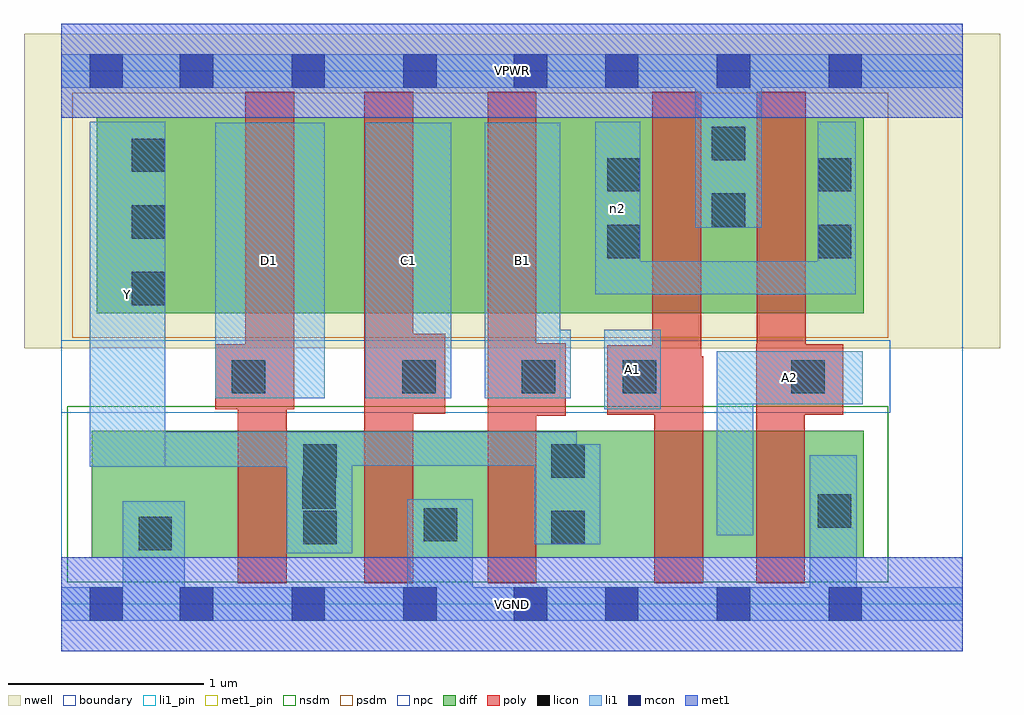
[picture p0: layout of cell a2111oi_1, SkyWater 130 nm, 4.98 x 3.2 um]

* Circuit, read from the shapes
.subckt a2111oi_1 A1 A2 B1 C1 D1 VGND VPWR Y n2
XM1 Y D1 VGND VSUBS sky130_fd_pr__nfet_01v8 w=0.65 l=0.25
XM2 VGND C1 Y VSUBS sky130_fd_pr__nfet_01v8 w=0.65 l=0.25
XM3 Y B1 VGND VSUBS sky130_fd_pr__nfet_01v8 w=0.65 l=0.25
XM4 n1 A1 Y VSUBS sky130_fd_pr__nfet_01v8 w=0.65 l=0.25
XM5 VGND A2 n1 VSUBS sky130_fd_pr__nfet_01v8 w=0.65 l=0.25
XM6 n3 D1 Y n4 sky130_fd_pr__pfet_01v8 w=1 l=0.25
XM7 n5 C1 n3 n4 sky130_fd_pr__pfet_01v8 w=1 l=0.25
XM8 n2 B1 n5 n4 sky130_fd_pr__pfet_01v8 w=1 l=0.25
XM9 VPWR A1 n2 n4 sky130_fd_pr__pfet_01v8 w=1 l=0.25
XM10 n2 A2 VPWR n4 sky130_fd_pr__pfet_01v8 w=1 l=0.25
.ends

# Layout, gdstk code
import gdstk
lib = gdstk.Library(unit=1e-6, precision=1e-09)
def R(c, l, rs):  # rectangles x0, y0, x1, y1
    for r in rs: c.add(gdstk.rectangle(r[:2], r[2:], *l))
def A(c, l, x, y, w, h, nx, ny, dx, dy):  # array of equal rectangles
    R(c, l, [(x+i*dx, y+j*dy, x+i*dx+w, y+j*dy+h) for i in range(nx) for j in range(ny)])
nwell = (64, 20)
diff = (65, 20)
poly = (66, 20)
licon = (66, 44)
li1_pin = (67, 16)
li1 = (67, 20)
mcon = (67, 44)
met1_pin = (68, 16)
met1 = (68, 20)
nsdm = (93, 44)
psdm = (94, 20)
npc = (95, 20)
boundary = (235, 4)

a2111oi_1 = lib.new_cell('a2111oi_1')
R(a2111oi_1, nwell, [(-0.19,1.305,4.79,2.91), (0,1.305,4.6,2.91)])
R(a2111oi_1, diff, [(0.155,0.235,4.095,0.885), (0.18,1.485,4.095,2.485)])
R(a2111oi_1, poly, [(0.9,0.105,1.15,1.325), (1.545,0.105,1.795,2.615), (2.175,0.105,2.425,2.615), (3.025,0.105,3.275,1.265), (3.545,0.105,3.795,1.325), (2.175,0.96,2.575,1.33), (2.785,0.965,3.265,1.32), (3.015,0.965,3.265,2.615), (3.545,0.965,3.99,1.325), (3.55,0.965,3.8,2.615), (1.545,0.97,1.96,1.38), (0.785,0.995,1.19,1.325), (0.94,0.995,1.19,2.615)])
A(a2111oi_1, licon, 0.36, 1.525, 0.17, 0.17, 1, 3, 0, 0.34)
R(a2111oi_1, licon, [(0.395,0.275,0.565,0.445), (1.235,0.305,1.405,0.475), (2.5,0.305,2.67,0.475), (1.85,0.32,2.02,0.49), (3.86,0.39,4.03,0.56), (1.23,0.485,1.4,0.655), (1.235,0.645,1.405,0.815), (2.5,0.645,2.67,0.815), (0.87,1.075,1.04,1.245), (1.74,1.075,1.91,1.245), (2.35,1.075,2.52,1.245), (2.865,1.075,3.035,1.245), (3.725,1.075,3.895,1.245), (2.785,1.765,2.955,1.935), (3.86,1.765,4.03,1.935), (3.32,1.925,3.49,2.095), (2.785,2.105,2.955,2.275), (3.86,2.105,4.03,2.275), (3.32,2.265,3.49,2.435)])
R(a2111oi_1, li1_pin, [(0.145,0.7,0.53,2.46), (2.77,0.995,3.06,1.4), (3.345,1.02,4.09,1.29), (0.785,1.05,1.345,2.455), (1.55,1.05,1.99,2.455), (2.16,1.05,2.545,2.455)])
R(a2111oi_1, li1, [(0,-0.085,4.6,0.085), (0.315,-0.085,0.63,0.525), (1.765,-0.085,2.1,0.535), (3.82,-0.085,4.06,0.76), (1.15,0.26,1.485,0.88), (2.415,0.305,2.75,0.705), (2.415,0.305,2.63,0.88), (3.345,0.35,3.53,1.29), (0.145,0.7,0.53,2.46), (0.145,0.7,1.485,0.88), (0.145,0.705,2.415,0.88), (0.145,0.705,2.75,0.815), (2.77,0.995,3.06,1.4), (3.345,1.02,4.09,1.29), (0.785,1.05,1.345,2.455), (1.55,1.05,1.99,2.455), (2.16,1.05,2.545,2.455), (2.16,1.05,2.6,1.4), (2.725,1.58,2.955,2.46), (2.725,1.58,4.055,1.75), (3.86,1.58,4.055,2.46), (3.235,1.92,3.575,2.805), (0,2.635,4.6,2.805)])
A(a2111oi_1, mcon, 0.605, -0.085, 0.17, 0.17, 3, 2, 0.57, 2.72)
A(a2111oi_1, mcon, 2.775, -0.085, 0.17, 0.17, 3, 2, 0.57, 2.72)
R(a2111oi_1, mcon, [(0.145,-0.085,0.315,0.085), (2.31,-0.085,2.48,0.085), (0.145,2.635,0.315,2.805), (2.31,2.635,2.48,2.805)])
R(a2111oi_1, met1_pin, [(0,-0.24,4.6,0.24), (0,2.48,4.6,2.96)])
R(a2111oi_1, met1, [(0,-0.24,4.6,0.24), (0,2.48,4.6,2.96)])
R(a2111oi_1, nsdm, [(0.03,0.11,4.22,1.01)])
R(a2111oi_1, psdm, [(0.055,1.36,4.22,2.61)])
R(a2111oi_1, npc, [(0,0.975,4.23,1.345)])
R(a2111oi_1, boundary, [(0,0,4.6,2.72)])
a2111oi_1.add(gdstk.Label('A1', (2.915,1.197), layer=67, texttype=5))
a2111oi_1.add(gdstk.Label('A2', (3.717,1.155), layer=67, texttype=5))
a2111oi_1.add(gdstk.Label('B1', (2.352,1.752), layer=67, texttype=5))
a2111oi_1.add(gdstk.Label('C1', (1.77,1.752), layer=67, texttype=5))
a2111oi_1.add(gdstk.Label('D1', (1.065,1.752), layer=67, texttype=5))
a2111oi_1.add(gdstk.Label('Y', (0.337,1.58), layer=67, texttype=5))
a2111oi_1.add(gdstk.Label('n2', (2.84,2.02), layer=67, texttype=5))
a2111oi_1.add(gdstk.Label('VPWR', (2.3,2.72), layer=68, texttype=5))
a2111oi_1.add(gdstk.Label('VGND', (2.3,0), layer=68, texttype=5))
a2111oi_1.add(gdstk.Label('A1', (2.915,1.197), layer=67, texttype=16))
a2111oi_1.add(gdstk.Label('A2', (3.717,1.155), layer=67, texttype=16))
a2111oi_1.add(gdstk.Label('B1', (2.352,1.752), layer=67, texttype=16))
a2111oi_1.add(gdstk.Label('C1', (1.77,1.752), layer=67, texttype=16))
a2111oi_1.add(gdstk.Label('D1', (1.065,1.752), layer=67, texttype=16))
a2111oi_1.add(gdstk.Label('Y', (0.337,1.58), layer=67, texttype=16))
a2111oi_1.add(gdstk.Label('VPWR', (2.3,2.72), layer=68, texttype=16))
a2111oi_1.add(gdstk.Label('VGND', (2.3,0), layer=68, texttype=16))

lib.write_gds('a2111oi_1.gds')
